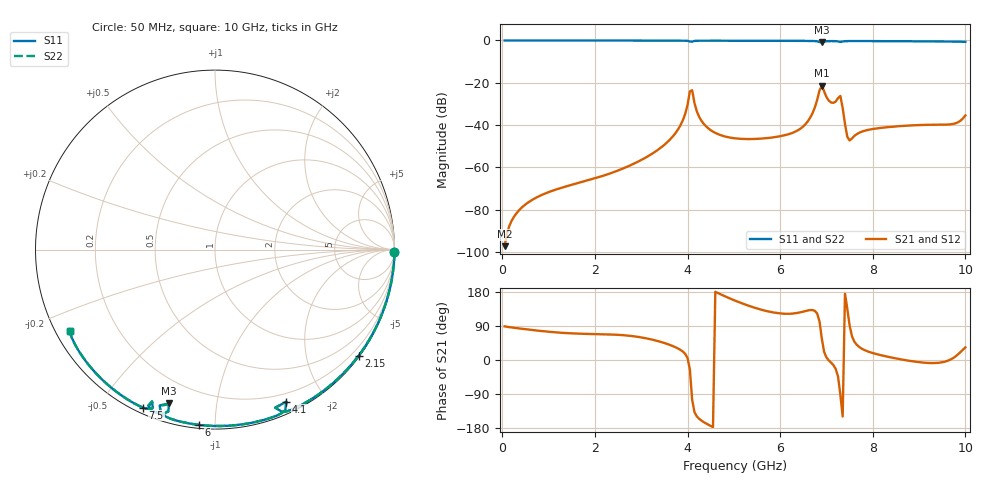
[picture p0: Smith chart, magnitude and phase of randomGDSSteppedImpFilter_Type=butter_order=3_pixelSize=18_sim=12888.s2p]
! freq	dB(S11)	phase(S11)	dB(S12)	phase(S12)
!  dB(S21)	phase(S21)	dB(S22)	phase(S22)
!S-par simulation data
#  GHz  S  DB  R 50
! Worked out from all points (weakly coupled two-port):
!   200 points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, 50 MHz to 10 GHz, reference 50 ohm
!   highest |S21| = -21.40 dB at 6.9 GHz (marker M1); lowest = -97.2 dB at 50 MHz (marker M2)
!   lowest |S11| = -1.0 dB at 6.9 GHz (marker M3), VSWR 18.08, Z = 4.29 - j37 ohm
!   |S11| at or under -10 dB: nowhere
!   |S22| runs from -0.9 to 0.0 dB; largest |S21 - S12| = 0
!   S11 on the Smith chart (normalised r, x): 50 MHz: open; 2.15 GHz: 0.03, -3.04; 4.1 GHz: 0.11, -1.57; 6 GHz: 0.02, -0.91; 7.5 GHz: 0.02, -0.64; 10 GHz: 0.04, -0.26
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0.05  -0.00 -0.9  -97.19 88.7  -97.19 88.7  -0.00 -0.9
1.75  -0.04 -29.8  -66.69 69.1  -66.69 69.1  -0.04 -29.8
2.15  -0.05 -36.4  -64.12 68.1  -64.12 68.1  -0.05 -36.4
3.4  -0.08 -56.7  -51.04 48.6  -51.04 48.6  -0.08 -56.7
3.85  -0.10 -64.1  -39.96 26.5  -39.96 26.5  -0.10 -64.1
3.95  -0.13 -66.1  -34.68 16.1  -34.68 16.1  -0.13 -66.1
4.05  -0.51 -69.2  -24.10 -24.4  -24.10 -24.4  -0.51 -69.1
4.1  -0.58 -64.9  -23.53 -105.3  -23.53 -105.3  -0.57 -64.9
4.2  -0.14 -67.7  -33.43 -148.6  -33.43 -148.6  -0.14 -67.7
4.35  -0.11 -70.6  -39.42 -163.9  -39.42 -163.9  -0.11 -70.6
5.05  -0.13 -81.4  -46.29 155.5  -46.29 155.5  -0.13 -81.4
6  -0.17 -95.3  -45.24 123.0  -45.24 123.0  -0.17 -95.3
6.45  -0.20 -102.0  -41.49 126.2  -41.49 126.2  -0.20 -102.0
6.7  -0.26 -106.2  -34.31 131.8  -34.31 131.8  -0.26 -106.2
6.9  -0.96 -106.7  -21.40 56.2  -21.40 56.2  -0.92 -106.8
7.1  -0.30 -109.6  -29.31 -7.0  -29.31 -7.0  -0.30 -109.8
7.3  -0.71 -112.5  -26.22 -91.7  -26.22 -91.7  -0.78 -112.5
7.45  -0.30 -113.6  -45.48 135.0  -45.48 135.0  -0.31 -113.4
7.5  -0.29 -114.5  -47.25 90.9  -47.25 90.9  -0.29 -114.4
8.35  -0.33 -126.7  -40.90 7.9  -40.90 7.9  -0.33 -126.7
9.7  -0.52 -145.7  -39.55 2.7  -39.55 2.7  -0.52 -145.7
10  -0.64 -150.7  -35.41 33.3  -35.41 33.3  -0.64 -150.6
